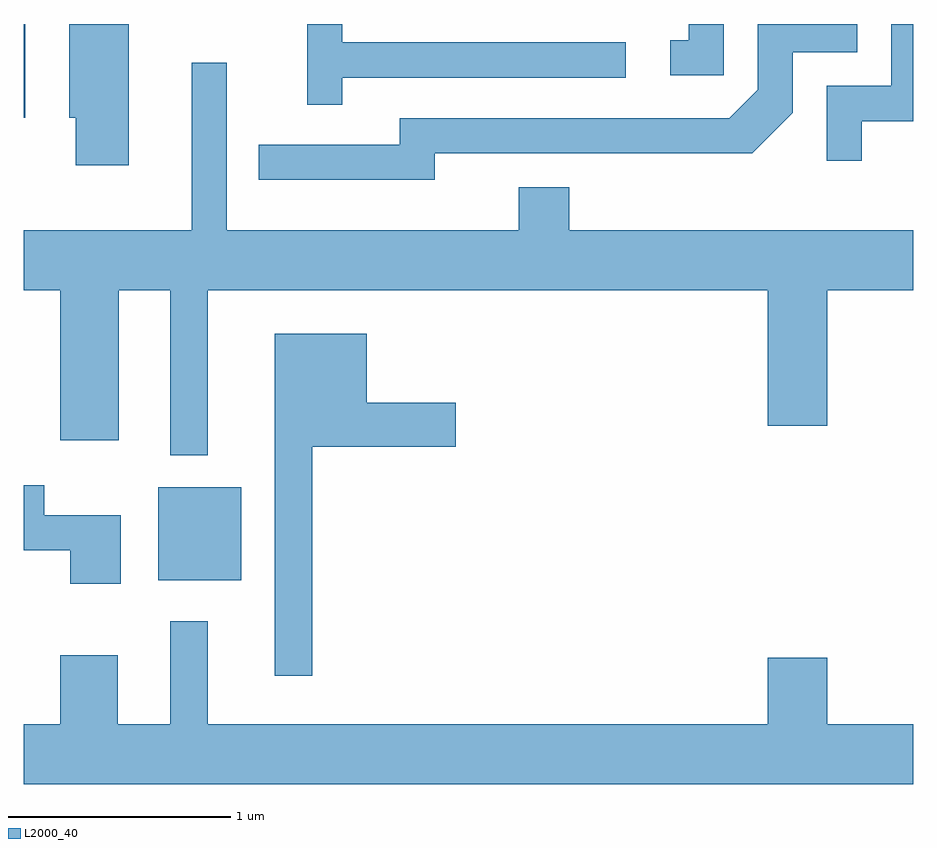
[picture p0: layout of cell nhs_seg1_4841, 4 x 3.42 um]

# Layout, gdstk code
import gdstk
lib = gdstk.Library(unit=1e-6, precision=1e-09)
def R(c, l, rs):  # rectangles x0, y0, x1, y1
    for r in rs: c.add(gdstk.rectangle(r[:2], r[2:], *l))
def P(c, l, *ps):  # polygons
    for p in ps: c.add(gdstk.Polygon(p, *l))
L2000_40 = (2000, 40)

nhs_seg1_4841 = lib.new_cell('nhs_seg1_4841')
R(nhs_seg1_4841, L2000_40, [(332.216,847.211,332.589,847.629), (331.611,849.291,331.619,849.712)])
P(nhs_seg1_4841, L2000_40, [(333.044,849.471),(334.318,849.471),(334.318,849.629),(333.044,849.629),(333.044,849.712),(332.886,849.712),(332.886,849.348),(333.044,849.348)],
  [(333.459,849.131),(334.887,849.131),(335.069,849.314),(335.069,849.586),(335.359,849.586),(335.359,849.712),(334.911,849.712),(334.911,849.417),(334.784,849.289),(333.301,849.289),(333.301,849.169),(332.668,849.169),(332.668,849.011),(333.459,849.011)],
  [(334.759,849.712),(334.601,849.712),(334.601,849.639),(334.518,849.639),(334.518,849.481),(334.759,849.481)],
  [(335.379,849.276),(335.611,849.276),(335.611,849.712),(335.511,849.712),(335.511,849.434),(335.221,849.434),(335.221,849.098),(335.379,849.098)],
  [(332.084,849.712),(331.816,849.712),(331.816,849.291),(331.846,849.291),(331.846,849.076),(332.084,849.076)],
  [(333.836,848.979),(333.836,848.784),(332.524,848.784),(332.524,849.538),(332.366,849.538),(332.366,848.784),(331.611,848.784),(331.611,848.516),(331.776,848.516),(331.776,847.841),(332.039,847.841),(332.039,848.516),(332.271,848.516),(332.271,847.773),(332.439,847.773),(332.439,848.516),(334.956,848.516),(334.956,847.906),(335.224,847.906),(335.224,848.516),(335.611,848.516),(335.611,848.784),(334.064,848.784),(334.064,848.979)],
  [(332.909,847.811),(333.554,847.811),(333.554,848.009),(333.154,848.009),(333.154,848.319),(332.741,848.319),(332.741,846.783),(332.909,846.783)],
  [(332.049,847.504),(331.704,847.504),(331.704,847.639),(331.611,847.639),(331.611,847.346),(331.821,847.346),(331.821,847.196),(332.049,847.196)],
  [(335.611,846.564),(335.224,846.564),(335.224,846.864),(334.956,846.864),(334.956,846.564),(332.439,846.564),(332.439,847.028),(332.271,847.028),(332.271,846.564),(332.034,846.564),(332.034,846.874),(331.776,846.874),(331.776,846.564),(331.611,846.564),(331.611,846.296),(335.611,846.296)])

lib.write_gds('nhs_seg1_4841.gds')
